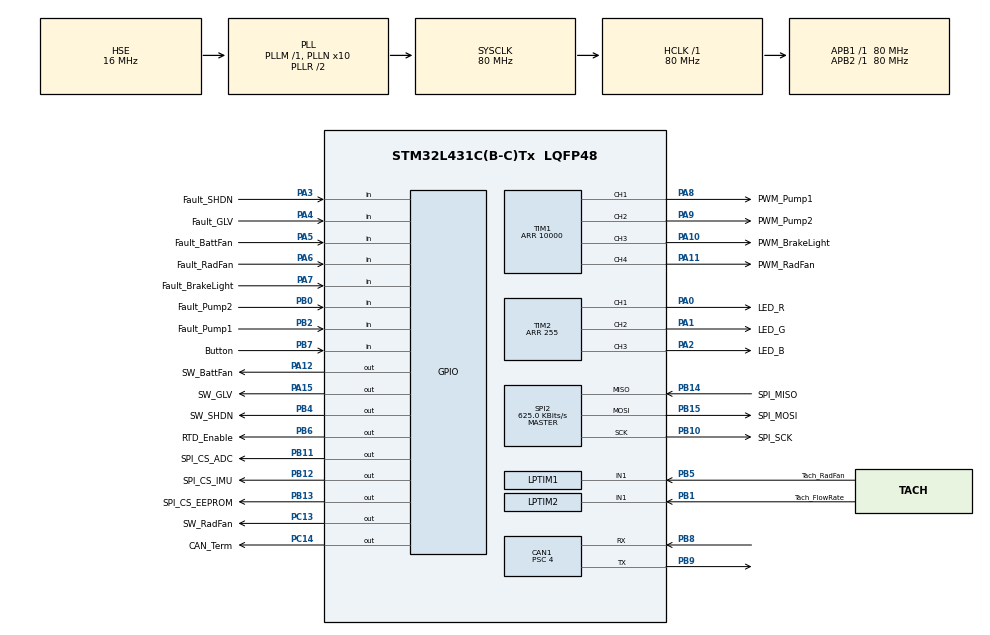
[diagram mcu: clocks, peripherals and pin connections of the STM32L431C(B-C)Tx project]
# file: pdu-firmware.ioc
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CAN1.BS1=CAN_BS1_16TQ
CAN1.BS2=CAN_BS2_3TQ
CAN1.CalculateBaudRate=1000000
CAN1.CalculateTimeBit=1000
CAN1.CalculateTimeQuantum=50.0
CAN1.Prescaler=4
Mcu.Family=STM32L4
Mcu.Name=STM32L431C(B-C)Tx
Mcu.Package=LQFP48
NVIC.PriorityGroup=NVIC_PRIORITYGROUP_4
PA0.GPIO_Label=LED_R
PA0.GPIO_ModeDefaultPP=GPIO_MODE_AF_OD
PA0.GPIO_Speed=GPIO_SPEED_FREQ_VERY_HIGH
PA0.Signal=S_TIM2_CH1
PA1.GPIO_Label=LED_G
PA1.GPIO_ModeDefaultPP=GPIO_MODE_AF_OD
PA1.GPIO_Speed=GPIO_SPEED_FREQ_VERY_HIGH
PA1.Signal=S_TIM2_CH2
PA10.GPIO_Label=PWM_BrakeLight
PA10.Signal=S_TIM1_CH3
PA11.GPIO_Label=PWM_RadFan
PA11.Signal=S_TIM1_CH4
PA12.GPIO_Label=SW_BattFan
PA12.Signal=GPIO_Output
PA13\ (JTMS-SWDIO).Mode=Trace_Asynchronous_SW
PA13\ (JTMS-SWDIO).Signal=SYS_JTMS-SWDIO
PA14\ (JTCK-SWCLK).Mode=Trace_Asynchronous_SW
PA14\ (JTCK-SWCLK).Signal=SYS_JTCK-SWCLK
PA15\ (JTDI).GPIO_Label=SW_GLV
PA15\ (JTDI).Signal=GPIO_Output
PA2.GPIO_Label=LED_B
PA2.GPIO_ModeDefaultPP=GPIO_MODE_AF_OD
PA2.GPIO_Speed=GPIO_SPEED_FREQ_VERY_HIGH
PA2.Signal=S_TIM2_CH3
PA3.GPIO_Label=Fault_SHDN
PA3.Signal=GPIO_Input
PA4.GPIO_Label=Fault_GLV
PA4.Signal=GPIO_Input
PA5.GPIO_Label=Fault_BattFan
PA5.Signal=GPIO_Input
PA6.GPIO_Label=Fault_RadFan
PA6.Signal=GPIO_Input
PA7.GPIO_Label=Fault_BrakeLight
PA7.Signal=GPIO_Input
PA8.GPIO_Label=PWM_Pump1
PA8.Signal=S_TIM1_CH1
PA9.GPIO_Label=PWM_Pump2
PA9.Signal=S_TIM1_CH2
PB0.GPIO_Label=Fault_Pump2
PB0.Signal=GPIO_Input
PB1.GPIO_Label=Tach_FlowRate
PB1.Mode=Counts_external_clock_standalone_1X_occur1
PB1.Signal=LPTIM2_IN1
PB10.GPIO_Label=SPI_SCK
PB10.Mode=Full_Duplex_Master
PB10.Signal=SPI2_SCK
PB11.GPIO_Label=SPI_CS_ADC
PB11.GPIO_Speed=GPIO_SPEED_FREQ_VERY_HIGH
PB11.PinState=GPIO_PIN_SET
PB11.Signal=GPIO_Output
PB12.GPIO_Label=SPI_CS_IMU
PB12.GPIO_Speed=GPIO_SPEED_FREQ_VERY_HIGH
PB12.PinState=GPIO_PIN_SET
PB12.Signal=GPIO_Output
PB13.GPIO_Label=SPI_CS_EEPROM
PB13.GPIO_Speed=GPIO_SPEED_FREQ_VERY_HIGH
PB13.PinState=GPIO_PIN_SET
PB13.Signal=GPIO_Output
PB14.GPIO_Label=SPI_MISO
PB14.GPIO_PuPd=GPIO_PULLUP
PB14.Mode=Full_Duplex_Master
PB14.Signal=SPI2_MISO
PB15.GPIO_Label=SPI_MOSI
PB15.Mode=Full_Duplex_Master
PB15.Signal=SPI2_MOSI
PB2.GPIO_Label=Fault_Pump1
PB2.Signal=GPIO_Input
PB3\ (JTDO-TRACESWO).Mode=Trace_Asynchronous_SW
PB3\ (JTDO-TRACESWO).Signal=SYS_JTDO-SWO
PB4\ (NJTRST).GPIO_Label=SW_SHDN
PB4\ (NJTRST).Signal=GPIO_Output
PB5.GPIO_Label=Tach_RadFan
PB5.Mode=Counts_external_clock_standalone_1X_occur1
PB5.Signal=LPTIM1_IN1
PB6.GPIO_Label=RTD_Enable
PB6.Signal=GPIO_Output
PB7.GPIO_Label=Button
PB7.Signal=GPIO_Input
PB8.Mode=CAN_Activate
PB8.Signal=CAN1_RX
PB9.Mode=CAN_Activate
PB9.Signal=CAN1_TX
PC13.GPIO_Label=SW_RadFan
PC13.Signal=GPIO_Output
PC14-OSC32_IN\ (PC14).GPIO_Label=CAN_Term
PC14-OSC32_IN\ (PC14).Signal=GPIO_Output
PH0-OSC_IN\ (PH0).Mode=HSE-External-Oscillator
PH0-OSC_IN\ (PH0).Signal=RCC_OSC_IN
PH1-OSC_OUT\ (PH1).Mode=HSE-External-Oscillator
PH1-OSC_OUT\ (PH1).Signal=RCC_OSC_OUT
ProjectManager.HeapSize=0x200
ProjectManager.StackSize=0x400
ProjectManager.TargetToolchain=STM32CubeIDE
RCC.ADCFreq_Value=64000000
RCC.AHBFreq_Value=80000000
RCC.APB1Freq_Value=80000000
RCC.APB1TimFreq_Value=80000000
RCC.APB2Freq_Value=80000000
RCC.APB2TimFreq_Value=80000000
RCC.CortexFreq_Value=80000000
RCC.HCLKFreq_Value=80000000
RCC.HSE_VALUE=16000000
RCC.HSI48_VALUE=48000000
RCC.HSI_VALUE=16000000
RCC.LSE_VALUE=32768
RCC.MSI_VALUE=4000000
RCC.PLLN=10
RCC.PLLSourceVirtual=RCC_PLLSOURCE_HSE
RCC.SYSCLKFreq_VALUE=80000000
RCC.SYSCLKSource=RCC_SYSCLKSOURCE_PLLCLK
RCC.VCOOutputFreq_Value=160000000
SH.S_TIM1_CH1.0=TIM1_CH1,PWM Generation1 CH1
SH.S_TIM1_CH2.0=TIM1_CH2,PWM Generation2 CH2
SH.S_TIM1_CH3.0=TIM1_CH3,PWM Generation3 CH3
SH.S_TIM1_CH4.0=TIM1_CH4,PWM Generation4 CH4
SH.S_TIM2_CH1.0=TIM2_CH1,PWM Generation1 CH1
SH.S_TIM2_CH2.0=TIM2_CH2,PWM Generation2 CH2
SH.S_TIM2_CH3.0=TIM2_CH3,PWM Generation3 CH3
SPI2.BaudRatePrescaler=SPI_BAUDRATEPRESCALER_128
SPI2.CLKPhase=SPI_PHASE_2EDGE
SPI2.CLKPolarity=SPI_POLARITY_HIGH
SPI2.CalculateBaudRate=625.0 KBits/s
SPI2.DataSize=SPI_DATASIZE_8BIT
SPI2.Direction=SPI_DIRECTION_2LINES
SPI2.Mode=SPI_MODE_MASTER
SPI2.VirtualType=VM_MASTER
TIM1.Channel-PWM\ Generation1\ CH1=TIM_CHANNEL_1
TIM1.Channel-PWM\ Generation2\ CH2=TIM_CHANNEL_2
TIM1.Channel-PWM\ Generation3\ CH3=TIM_CHANNEL_3
TIM1.Channel-PWM\ Generation4\ CH4=TIM_CHANNEL_4
TIM1.Period=10000
TIM2.AutoReloadPreload=TIM_AUTORELOAD_PRELOAD_ENABLE
TIM2.Channel-PWM\ Generation1\ CH1=TIM_CHANNEL_1
TIM2.Channel-PWM\ Generation2\ CH2=TIM_CHANNEL_2
TIM2.Channel-PWM\ Generation3\ CH3=TIM_CHANNEL_3
TIM2.OCPolarity_1=TIM_OCPOLARITY_LOW
TIM2.OCPolarity_2=TIM_OCPOLARITY_LOW
TIM2.OCPolarity_3=TIM_OCPOLARITY_LOW
TIM2.Period=255
VP_TIM1_VS_ClockSourceINT.Mode=Internal
VP_TIM2_VS_ClockSourceINT.Mode=Internal
board=custom

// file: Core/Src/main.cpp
/* USER CODE BEGIN Header */
/**
 ******************************************************************************
 * @file           : main.c
 * @brief          : Main program body
 ******************************************************************************
 * @attention
 *
 * Copyright (c) 2023 STMicroelectronics.
 * All rights reserved.
 *
 * This software is licensed under terms that can be found in the LICENSE file
 * in the root directory of this software component.
 * If no LICENSE file comes with this software, it is provided AS-IS.
 *
 ******************************************************************************
 */
/* USER CODE END Header */
#include "main.h"
#include "can.h"
#include "gpio.h"
#include "lptim.h"
#include "spi.h"
#include "tim.h"

/* USER CODE BEGIN Includes */
#include "LonghornLib/clock.h"
#include "LonghornLib/led.h"
#include "spi_adc.h"
#include "switches.h"
/* USER CODE END Includes */

void SystemClock_Config(void);

/* USER CODE BEGIN 0 */
AdcVoltages adcVoltages;
/* USER CODE END 0 */

int main(void) {

  /* MCU Configuration--------------------------------------------------------*/

  /* Reset of all peripherals, Initializes the Flash interface and the Systick.
   */
  HAL_Init();

  /* Configure the system clock */
  SystemClock_Config();

  /* Initialize all configured peripherals */
  MX_GPIO_Init();
  MX_CAN1_Init();
  MX_TIM2_Init();
  MX_SPI2_Init();
  MX_TIM1_Init();
  MX_LPTIM1_Init();
  MX_LPTIM2_Init();
  /* USER CODE BEGIN 2 */
  clock_init();
  led_init();
  switches_init();
  spiAdc_init();
  /* USER CODE END 2 */

  /* Infinite loop */
  while (1) {

    /* USER CODE BEGIN 3 */
    float deltaTime = clock_getDeltaTime();
    led_rainbow(deltaTime);

    int t = ((int)clock_getTime()) % 5;
    float pct = t / 4.0f;
    switches_setBrakeLight(pct * pct);
  }
  /* USER CODE END 3 */
}

void SystemClock_Config(void) {
  RCC_OscInitTypeDef RCC_OscInitStruct = {0};
  RCC_ClkInitTypeDef RCC_ClkInitStruct = {0};

  /** Configure the main internal regulator output voltage
   */
  if (HAL_PWREx_ControlVoltageScaling(PWR_REGULATOR_VOLTAGE_SCALE1) != HAL_OK) {
    Error_Handler();
  }

  /** Initializes the RCC Oscillators according to the specified parameters
   * in the RCC_OscInitTypeDef structure.
   */
  RCC_OscInitStruct.OscillatorType = RCC_OSCILLATORTYPE_HSE;
  RCC_OscInitStruct.HSEState = RCC_HSE_ON;
  RCC_OscInitStruct.PLL.PLLState = RCC_PLL_ON;
  RCC_OscInitStruct.PLL.PLLSource = RCC_PLLSOURCE_HSE;
  RCC_OscInitStruct.PLL.PLLM = 1;
  RCC_OscInitStruct.PLL.PLLN = 10;
  RCC_OscInitStruct.PLL.PLLP = RCC_PLLP_DIV7;
  RCC_OscInitStruct.PLL.PLLQ = RCC_PLLQ_DIV2;
  RCC_OscInitStruct.PLL.PLLR = RCC_PLLR_DIV2;
  if (HAL_RCC_OscConfig(&RCC_OscInitStruct) != HAL_OK) {
    Error_Handler();
  }

  /** Initializes the CPU, AHB and APB buses clocks
   */
  RCC_ClkInitStruct.ClockType = RCC_CLOCKTYPE_HCLK | RCC_CLOCKTYPE_SYSCLK |
                                RCC_CLOCKTYPE_PCLK1 | RCC_CLOCKTYPE_PCLK2;
  RCC_ClkInitStruct.SYSCLKSource = RCC_SYSCLKSOURCE_PLLCLK;
  RCC_ClkInitStruct.AHBCLKDivider = RCC_SYSCLK_DIV1;
  RCC_ClkInitStruct.APB1CLKDivider = RCC_HCLK_DIV1;
  RCC_ClkInitStruct.APB2CLKDivider = RCC_HCLK_DIV1;

  if (HAL_RCC_ClockConfig(&RCC_ClkInitStruct, FLASH_LATENCY_4) != HAL_OK) {
    Error_Handler();
  }
}

void Error_Handler(void) {
  __disable_irq();
  while (1) {
  }
}

#ifdef USE_FULL_ASSERT
/**
 * @brief  Reports the name of the source file and the source line number
 *         where the assert_param error has occurred.
 * @param  file: pointer to the source file name
 * @param  line: assert_param error line source number
 * @retval None
 */
void assert_failed(uint8_t *file, uint32_t line) {
  /* USER CODE BEGIN 6 */
  /* User can add his own implementation to report the file name and line
     number, ex: printf("Wrong parameters value: file %s on line %d\r\n", file,
     line) */
  /* USER CODE END 6 */
}
#endif /* USE_FULL_ASSERT */
